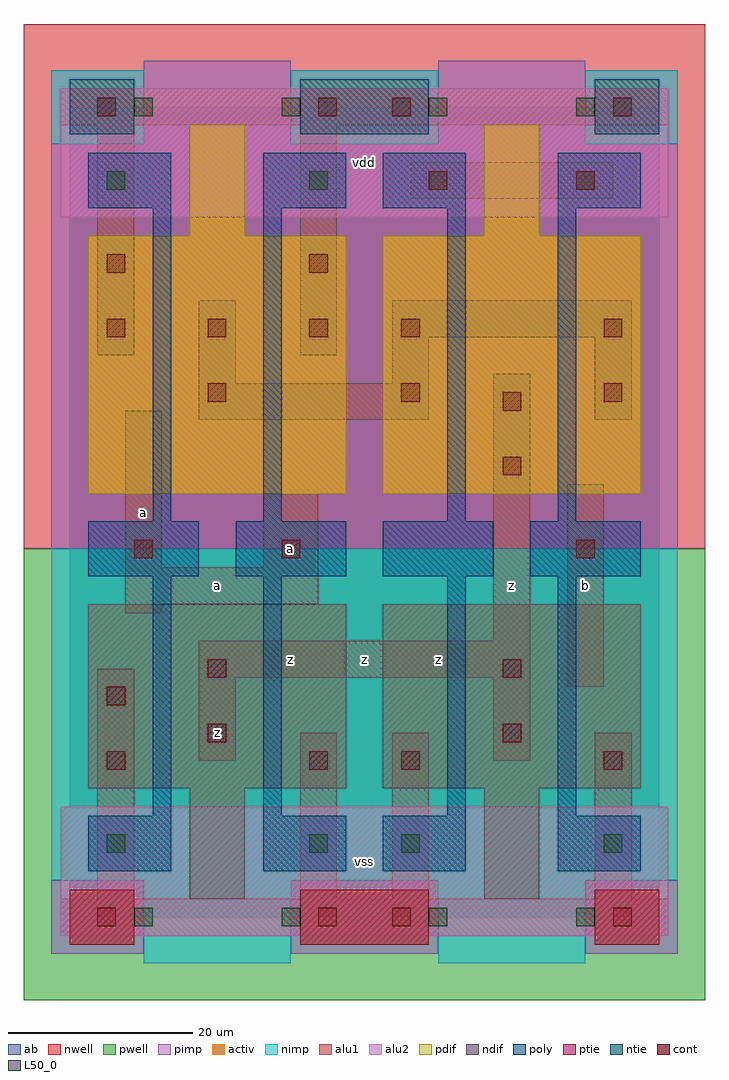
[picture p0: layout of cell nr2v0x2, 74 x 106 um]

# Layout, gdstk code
import gdstk
lib = gdstk.Library(unit=1e-6, precision=1e-09)
def R(c, l, rs):  # rectangles x0, y0, x1, y1
    for r in rs: c.add(gdstk.rectangle(r[:2], r[2:], *l))
def A(c, l, x, y, w, h, nx, ny, dx, dy):  # array of equal rectangles
    R(c, l, [(x+i*dx, y+j*dy, x+i*dx+w, y+j*dy+h) for i in range(nx) for j in range(ny)])
ndif = (3, 0)
pdif = (4, 0)
ntie = (5, 0)
ptie = (6, 0)
cont = (25, 0)
pwell = (41, 0)
nwell = (42, 0)
activ = (43, 0)
pimp = (44, 0)
nimp = (45, 0)
poly = (46, 0)
alu1 = (49, 0)
L50_0 = (50, 0)
alu2 = (51, 0)
ab = (63, 0)

nr2v0x2 = lib.new_cell('nr2v0x2')
R(nr2v0x2, ndif, [(13,2,19,14), (45,2,51,14), (2,14,30,34), (34,14,62,34)])
R(nr2v0x2, pdif, [(2,46,30,74), (34,46,62,74), (13,74,19,86), (45,74,51,86)])
R(nr2v0x2, ntie, [(0,85,7,91), (25,85,39,91), (57,85,64,91)])
R(nr2v0x2, ptie, [(0,-3,7,3), (25,-3,39,3), (57,-3,64,3)])
A(nr2v0x2, cont, 4, 63, 2, 2, 3, 1, 11, 0)
R(nr2v0x2, cont, [(3,-1,5,1), (27,-1,29,1), (35,-1,37,1), (59,-1,61,1), (4,16,6,18), (26,16,28,18), (36,16,38,18), (58,16,60,18), (15,19,17,21), (47,19,49,21), (4,23,6,25), (15,26,17,28), (47,26,49,28), (7,39,9,41), (23,39,25,41), (55,39,57,41), (47,48,49,50), (47,55,49,57), (15,56,17,58), (36,56,38,58), (58,56,60,58), (36,63,38,65), (58,63,60,65), (4,70,6,72), (26,70,28,72), (39,79,41,81), (55,79,57,81), (3,87,5,89), (27,87,29,89), (35,87,37,89), (59,87,61,89)])
R(nr2v0x2, pwell, [(-5,-9,69,40)])
R(nr2v0x2, nwell, [(-5,40,69,97)])
R(nr2v0x2, activ, [(0,-3,7,3), (25,-3,39,3), (57,-3,64,3), (13,2,19,14), (45,2,51,14), (2,14,30,34), (34,14,62,34), (2,46,30,74), (34,46,62,74), (13,74,19,86), (45,74,51,86), (0,85,7,91), (25,85,39,91), (57,85,64,91)])
R(nr2v0x2, pimp, [(-2,-4,8,4), (24,-4,40,4), (56,-4,66,4), (-2,40,66,84), (8,84,24,93), (40,84,56,93)])
R(nr2v0x2, nimp, [(8,-5,24,4), (40,-5,56,4), (-2,4,66,40), (-2,84,8,92), (24,84,40,92), (56,84,66,92)])
A(nr2v0x2, poly, 2, 37, 12, 6, 4, 1, 16, 0)
R(nr2v0x2, poly, [(2,5,11,11), (21,5,30,11), (34,5,43,11), (53,5,62,11), (9,11,11,37), (21,11,23,37), (41,11,43,37), (53,11,55,37), (9,43,11,77), (21,43,23,77), (41,43,43,77), (53,43,55,77), (2,77,11,83), (21,77,30,83), (34,77,43,83), (53,77,62,83)])
R(nr2v0x2, alu1, [(-1,-2,65,2), (3,2,7,27), (25,2,29,20), (35,2,39,20), (57,2,61,20), (14,17,18,26), (46,17,50,26), (54,25,58,47), (14,26,50,30), (46,30,50,59), (6,33,10,34), (6,34,27,38), (6,38,10,55), (21,38,27,46), (14,54,39,58), (57,54,61,63), (14,58,18,67), (35,58,39,63), (3,61,7,86), (25,61,29,86), (35,63,61,67), (37,78,59,82), (-1,86,65,90)])
A(nr2v0x2, L50_0, 7, -1, 2, 2, 4, 2, 16, 88)
R(nr2v0x2, L50_0, [(4,7,6,9), (26,7,28,9), (36,7,38,9), (58,7,60,9), (4,79,6,81), (26,79,28,81)])
R(nr2v0x2, alu2, [(-1,-2,65,12), (-1,76,65,90)])
R(nr2v0x2, ab, [(0,0,64,88)])
nr2v0x2.add(gdstk.Label('a', (8,44), layer=49, texttype=0))
nr2v0x2.add(gdstk.Label('z', (16,20), layer=49, texttype=0))
nr2v0x2.add(gdstk.Label('a', (16,36), layer=49, texttype=0))
nr2v0x2.add(gdstk.Label('a', (24,40), layer=49, texttype=0))
nr2v0x2.add(gdstk.Label('z', (24,28), layer=49, texttype=0))
nr2v0x2.add(gdstk.Label('z', (32,28), layer=49, texttype=0))
nr2v0x2.add(gdstk.Label('z', (40,28), layer=49, texttype=0))
nr2v0x2.add(gdstk.Label('z', (48,36), layer=49, texttype=0))
nr2v0x2.add(gdstk.Label('b', (56,36), layer=49, texttype=0))
nr2v0x2.add(gdstk.Label('vss', (32,6), layer=51, texttype=0))
nr2v0x2.add(gdstk.Label('vdd', (32,82), layer=51, texttype=0))

lib.write_gds('nr2v0x2.gds')
